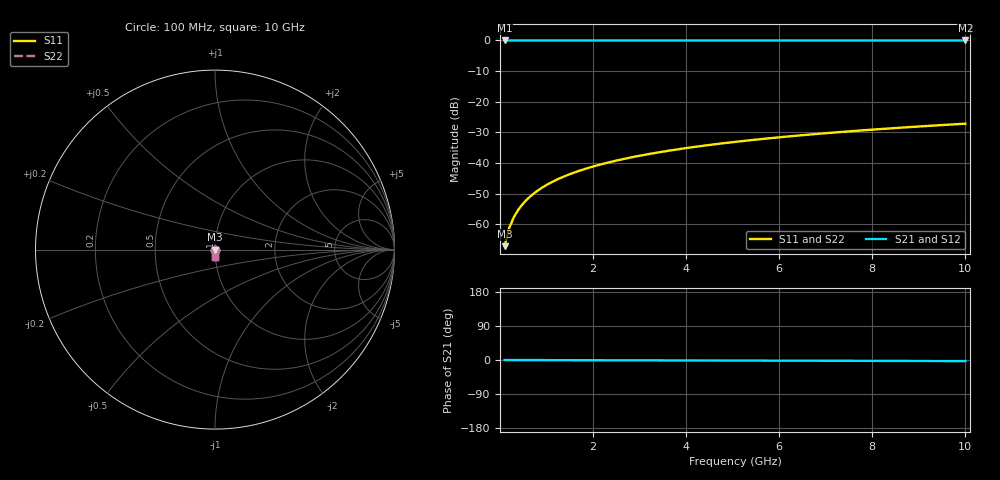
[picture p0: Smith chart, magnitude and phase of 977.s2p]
# Hz S RI R 50.00
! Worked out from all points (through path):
!   100 points, 100 MHz to 10 GHz, reference 50 ohm
!   highest |S21| = 0.00 dB at 100 MHz (marker M1); lowest = 0.0 dB at 10 GHz (marker M2)
!   lowest |S11| = -67.2 dB at 100 MHz (marker M3), VSWR 1.00, Z = 50 - j0.0437 ohm
!   |S11| at or under -10 dB: start of sweep to end of sweep
!   |S22| runs from -67.2 to -27.2 dB; largest |S21 - S12| = 0
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1e8  3.29e-05 -0.000437  1 -0.000506  1 -0.000506  3.29e-05 -0.000437
2e8  3.2e-05 -0.000873  1 -0.00101  1 -0.00101  3.2e-05 -0.000873
3e8  3.06e-05 -0.00131  1 -0.00152  1 -0.00152  3.06e-05 -0.00131
4e8  2.88e-05 -0.00175  1 -0.00202  1 -0.00202  2.88e-05 -0.00175
5e8  2.64e-05 -0.00218  1 -0.00253  1 -0.00253  2.64e-05 -0.00218
6e8  2.37e-05 -0.00262  1 -0.00304  1 -0.00304  2.37e-05 -0.00262
7e8  2.04e-05 -0.00306  1 -0.00354  1 -0.00354  2.04e-05 -0.00306
8e8  1.67e-05 -0.00349  0.9999 -0.00405  0.9999 -0.00405  1.67e-05 -0.00349
9e8  1.26e-05 -0.00393  0.9999 -0.00456  0.9999 -0.00456  1.26e-05 -0.00393
1.1e9  3e-06 -0.0048  0.9999 -0.00557  0.9999 -0.00557  3e-06 -0.0048
1.4e9  -1.48e-05 -0.00611  0.9999 -0.00709  0.9999 -0.00709  -1.48e-05 -0.00611
1.8e9  -4.46e-05 -0.00786  0.9999 -0.00911  0.9999 -0.00911  -4.46e-05 -0.00786
2.1e9  -7.17e-05 -0.00917  0.9999 -0.0106  0.9999 -0.0106  -7.17e-05 -0.00917
2.5e9  -0.000114 -0.0109  0.9998 -0.0127  0.9998 -0.0127  -0.000114 -0.0109
2.9e9  -0.000163 -0.0127  0.9998 -0.0147  0.9998 -0.0147  -0.000163 -0.0127
3.4e9  -0.000235 -0.0149  0.9997 -0.0172  0.9997 -0.0172  -0.000235 -0.0149
4.2e9  -0.000373 -0.0183  0.9995 -0.0213  0.9995 -0.0213  -0.000373 -0.0183
5.1e9  -0.000562 -0.0223  0.9994 -0.0258  0.9994 -0.0258  -0.000562 -0.0223
5.9e9  -0.000761 -0.0258  0.9992 -0.0299  0.9992 -0.0299  -0.000761 -0.0258
6.7e9  -0.000988 -0.0293  0.9989 -0.0339  0.9989 -0.0339  -0.000988 -0.0293
8.4e9  -0.00156 -0.0367  0.9983 -0.0426  0.9983 -0.0426  -0.00156 -0.0367
1e10  -0.00223 -0.0437  0.9977 -0.0507  0.9977 -0.0507  -0.00223 -0.0437
